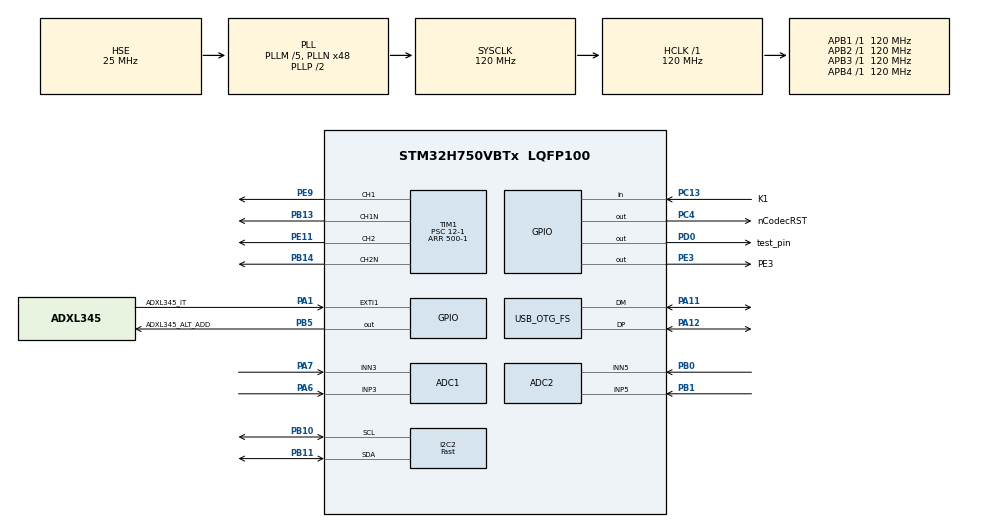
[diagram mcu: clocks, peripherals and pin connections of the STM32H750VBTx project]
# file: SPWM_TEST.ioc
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ADC1.Channel-0\#ChannelRegularConversion=ADC_CHANNEL_3
ADC1.ClockPrescaler=ADC_CLOCK_ASYNC_DIV64
ADC1.ContinuousConvMode=DISABLE
ADC1.ConversionDataManagement=ADC_CONVERSIONDATA_DMA_CIRCULAR
ADC1.ExternalTrigConv=ADC_EXTERNALTRIG_T6_TRGO
ADC1.NbrOfConversion=1
ADC1.NbrOfConversionFlag=1
ADC1.OffsetNumber-0\#ChannelRegularConversion=ADC_OFFSET_NONE
ADC1.OffsetSignedSaturation-0\#ChannelRegularConversion=DISABLE
ADC1.Rank-0\#ChannelRegularConversion=1
ADC1.SamplingTime-0\#ChannelRegularConversion=ADC_SAMPLETIME_32CYCLES_5
ADC1.SingleDiff-0\#ChannelRegularConversion=ADC_DIFFERENTIAL_ENDED
ADC1.master=1
ADC2.Channel-0\#ChannelRegularConversion=ADC_CHANNEL_5
ADC2.ClockPrescaler=ADC_CLOCK_ASYNC_DIV64
ADC2.ContinuousConvMode=DISABLE
ADC2.ExternalTrigConv=ADC_EXTERNALTRIG_T15_TRGO
ADC2.NbrOfConversion=1
ADC2.NbrOfConversionFlag=1
ADC2.OffsetNumber-0\#ChannelRegularConversion=ADC_OFFSET_NONE
ADC2.OffsetSignedSaturation-0\#ChannelRegularConversion=DISABLE
ADC2.Rank-0\#ChannelRegularConversion=1
ADC2.SamplingTime-0\#ChannelRegularConversion=ADC_SAMPLETIME_387CYCLES_5
ADC2.SingleDiff-0\#ChannelRegularConversion=ADC_DIFFERENTIAL_ENDED
CORTEX_M7.AccessPermission-Cortex_Memory_Protection_Unit_Region0_Settings=MPU_REGION_FULL_ACCESS
CORTEX_M7.AccessPermission-Cortex_Memory_Protection_Unit_Region1_Settings=MPU_REGION_FULL_ACCESS
CORTEX_M7.BaseAddress-Cortex_Memory_Protection_Unit_Region0_Settings=0x90000000
CORTEX_M7.BaseAddress-Cortex_Memory_Protection_Unit_Region1_Settings=0x90000000
CORTEX_M7.CPU_DCache=Disabled
CORTEX_M7.CPU_ICache=Disabled
CORTEX_M7.DisableExec-Cortex_Memory_Protection_Unit_Region0_Settings=MPU_INSTRUCTION_ACCESS_DISABLE
CORTEX_M7.Enable-Cortex_Memory_Protection_Unit_Region0_Settings=MPU_REGION_ENABLE
CORTEX_M7.Enable-Cortex_Memory_Protection_Unit_Region1_Settings=MPU_REGION_ENABLE
CORTEX_M7.IsBufferable-Cortex_Memory_Protection_Unit_Region0_Settings=MPU_ACCESS_BUFFERABLE
CORTEX_M7.IsBufferable-Cortex_Memory_Protection_Unit_Region1_Settings=MPU_ACCESS_BUFFERABLE
CORTEX_M7.IsCacheable-Cortex_Memory_Protection_Unit_Region0_Settings=MPU_ACCESS_CACHEABLE
CORTEX_M7.IsCacheable-Cortex_Memory_Protection_Unit_Region1_Settings=MPU_ACCESS_CACHEABLE
CORTEX_M7.MPU_Control=MPU_PRIVILEGED_DEFAULT
CORTEX_M7.Size-Cortex_Memory_Protection_Unit_Region0_Settings=MPU_REGION_SIZE_8MB
CORTEX_M7.Size-Cortex_Memory_Protection_Unit_Region1_Settings=MPU_REGION_SIZE_1MB
Dma.ADC1.2.Direction=DMA_PERIPH_TO_MEMORY
Dma.ADC1.2.EventEnable=DISABLE
Dma.ADC1.2.FIFOMode=DMA_FIFOMODE_DISABLE
Dma.ADC1.2.Instance=DMA2_Stream0
Dma.ADC1.2.MemDataAlignment=DMA_MDATAALIGN_WORD
Dma.ADC1.2.MemInc=DMA_MINC_ENABLE
Dma.ADC1.2.Mode=DMA_CIRCULAR
Dma.ADC1.2.PeriphDataAlignment=DMA_PDATAALIGN_WORD
Dma.ADC1.2.PeriphInc=DMA_PINC_DISABLE
Dma.ADC1.2.Polarity=HAL_DMAMUX_REQ_GEN_RISING
Dma.ADC1.2.Priority=DMA_PRIORITY_LOW
Dma.ADC1.2.RequestNumber=1
Dma.ADC1.2.SignalID=NONE
Dma.ADC1.2.SyncEnable=DISABLE
Dma.ADC1.2.SyncPolarity=HAL_DMAMUX_SYNC_NO_EVENT
Dma.ADC1.2.SyncRequestNumber=1
Dma.ADC1.2.SyncSignalID=NONE
Dma.Request0=TIM1_CH1
Dma.Request1=TIM1_CH2
Dma.Request2=ADC1
Dma.TIM1_CH1.0.Direction=DMA_MEMORY_TO_PERIPH
Dma.TIM1_CH1.0.EventEnable=DISABLE
Dma.TIM1_CH1.0.FIFOMode=DMA_FIFOMODE_DISABLE
Dma.TIM1_CH1.0.Instance=DMA1_Stream1
Dma.TIM1_CH1.0.MemDataAlignment=DMA_MDATAALIGN_HALFWORD
Dma.TIM1_CH1.0.MemInc=DMA_MINC_ENABLE
Dma.TIM1_CH1.0.Mode=DMA_CIRCULAR
Dma.TIM1_CH1.0.PeriphDataAlignment=DMA_PDATAALIGN_HALFWORD
Dma.TIM1_CH1.0.PeriphInc=DMA_PINC_DISABLE
Dma.TIM1_CH1.0.Polarity=HAL_DMAMUX_REQ_GEN_RISING
Dma.TIM1_CH1.0.Priority=DMA_PRIORITY_HIGH
Dma.TIM1_CH1.0.RequestNumber=1
Dma.TIM1_CH1.0.SignalID=NONE
Dma.TIM1_CH1.0.SyncEnable=DISABLE
Dma.TIM1_CH1.0.SyncPolarity=HAL_DMAMUX_SYNC_NO_EVENT
Dma.TIM1_CH1.0.SyncRequestNumber=1
Dma.TIM1_CH1.0.SyncSignalID=NONE
Dma.TIM1_CH2.1.Direction=DMA_MEMORY_TO_PERIPH
Dma.TIM1_CH2.1.EventEnable=DISABLE
Dma.TIM1_CH2.1.FIFOMode=DMA_FIFOMODE_DISABLE
Dma.TIM1_CH2.1.Instance=DMA1_Stream2
Dma.TIM1_CH2.1.MemDataAlignment=DMA_MDATAALIGN_HALFWORD
Dma.TIM1_CH2.1.MemInc=DMA_MINC_ENABLE
Dma.TIM1_CH2.1.Mode=DMA_CIRCULAR
Dma.TIM1_CH2.1.PeriphDataAlignment=DMA_PDATAALIGN_HALFWORD
Dma.TIM1_CH2.1.PeriphInc=DMA_PINC_DISABLE
Dma.TIM1_CH2.1.Polarity=HAL_DMAMUX_REQ_GEN_RISING
Dma.TIM1_CH2.1.Priority=DMA_PRIORITY_HIGH
Dma.TIM1_CH2.1.RequestNumber=1
Dma.TIM1_CH2.1.SignalID=NONE
Dma.TIM1_CH2.1.SyncEnable=DISABLE
Dma.TIM1_CH2.1.SyncPolarity=HAL_DMAMUX_SYNC_NO_EVENT
Dma.TIM1_CH2.1.SyncRequestNumber=1
Dma.TIM1_CH2.1.SyncSignalID=NONE
I2C2.I2C_Speed_Mode=I2C_Fast
I2C2.Timing=0x00B03FDB
Mcu.Family=STM32H7
Mcu.Name=STM32H750VBTx
Mcu.Package=LQFP100
NVIC.ADC_IRQn=true\:1\:0\:true\:false\:true\:true\:true\:true
NVIC.DMA1_Stream1_IRQn=true\:0\:0\:false\:false\:true\:false\:true\:true
NVIC.DMA1_Stream2_IRQn=true\:0\:0\:false\:false\:true\:false\:true\:true
NVIC.DMA2_Stream0_IRQn=true\:0\:0\:false\:false\:true\:false\:true\:true
NVIC.EXTI1_IRQn=true\:0\:0\:false\:false\:true\:true\:true\:true
NVIC.OTG_FS_EP1_IN_IRQn=true\:2\:0\:true\:false\:true\:true\:true\:true
NVIC.OTG_FS_EP1_OUT_IRQn=true\:2\:0\:true\:false\:true\:true\:true\:true
NVIC.OTG_FS_IRQn=true\:0\:0\:true\:false\:true\:false\:true\:true
NVIC.PriorityGroup=NVIC_PRIORITYGROUP_4
NVIC.TIM1_UP_IRQn=true\:0\:0\:false\:false\:true\:true\:true\:true
NVIC.TIM7_IRQn=true\:2\:0\:true\:false\:true\:true\:true\:true
PA1.GPIO_Label=ADXL345_IT
PA1.GPIO_PuPd=GPIO_PULLDOWN
PA1.Signal=GPXTI1
PA11.Mode=Device_Only
PA11.Signal=USB_OTG_FS_DM
PA12.Mode=Device_Only
PA12.Signal=USB_OTG_FS_DP
PA13\ (JTMS/SWDIO).Mode=Serial_Wire
PA13\ (JTMS/SWDIO).Signal=DEBUG_JTMS-SWDIO
PA14\ (JTCK/SWCLK).Mode=Serial_Wire
PA14\ (JTCK/SWCLK).Signal=DEBUG_JTCK-SWCLK
PA6.Signal=ADCx_INP3
PA7.Signal=ADCx_INN3
PB0.Signal=ADCx_INN5
PB1.Signal=ADCx_INP5
PB10.Mode=I2C
PB10.Signal=I2C2_SCL
PB11.Mode=I2C
PB11.Signal=I2C2_SDA
PB13.Mode=PWM Generation1 CH1 CH1N
PB13.Signal=TIM1_CH1N
PB14.Mode=PWM Generation2 CH2 CH2N
PB14.Signal=TIM1_CH2N
PB5.GPIO_Label=ADXL345_ALT_ADD
PB5.Signal=GPIO_Output
PC13.GPIO_Label=K1
PC13.Signal=GPIO_Input
PC14-OSC32_IN\ (OSC32_IN).Mode=LSE-External-Oscillator
PC14-OSC32_IN\ (OSC32_IN).Signal=RCC_OSC32_IN
PC15-OSC32_OUT\ (OSC32_OUT).Mode=LSE-External-Oscillator
PC15-OSC32_OUT\ (OSC32_OUT).Signal=RCC_OSC32_OUT
PC4.GPIO_Label=nCodecRST
PC4.Signal=GPIO_Output
PD0.GPIO_Label=test_pin
PD0.Signal=GPIO_Output
PE11.Signal=S_TIM1_CH2
PE3.GPIO_Label=PE3
PE3.Signal=GPIO_Output
PE9.Signal=S_TIM1_CH1
PH0-OSC_IN\ (PH0).Mode=HSE-External-Oscillator
PH0-OSC_IN\ (PH0).Signal=RCC_OSC_IN
PH1-OSC_OUT\ (PH1).Mode=HSE-External-Oscillator
PH1-OSC_OUT\ (PH1).Signal=RCC_OSC_OUT
ProjectManager.HeapSize=0x200
ProjectManager.StackSize=0x400
ProjectManager.TargetToolchain=STM32CubeIDE
RCC.ADCFreq_Value=100000000
RCC.APB1Freq_Value=120000000
RCC.APB2Freq_Value=120000000
RCC.APB3Freq_Value=120000000
RCC.APB4Freq_Value=120000000
RCC.CortexFreq_Value=120000000
RCC.DIVM1=5
RCC.DIVM2=2
RCC.DIVN1=48
RCC.DIVN2=16
RCC.DIVQ1=5
RCC.DIVR1=4
RCC.HCLKFreq_Value=120000000
RCC.HSE_VALUE=25000000
RCC.PLL2FRACN=0
RCC.PLL2_VCI_Range-AdvancedSettings=RCC_PLL2VCIRANGE_2
RCC.PLL3FRACN=0
RCC.PLL3_VCI_Range-AdvancedSettings=RCC_PLL3VCIRANGE_0
RCC.PLLFRACN=0
RCC.PLLSourceVirtual=RCC_PLLSOURCE_HSE
RCC.PWR_Regulator_Voltage_Scale=PWR_REGULATOR_VOLTAGE_SCALE0
RCC.SAI23CLockSelection=RCC_SAI23CLKSOURCE_PLL2
RCC.SPI123CLockSelection=RCC_SPI123CLKSOURCE_PLL2
RCC.SYSCLKFreq_VALUE=120000000
RCC.SYSCLKSource=RCC_SYSCLKSOURCE_PLLCLK
RCC.SupplySource=PWR_LDO_SUPPLY
RCC.USBFreq_Value=48000000
SH.ADCx_INN3.0=ADC1_INN3,IN3-Differential
SH.ADCx_INN5.0=ADC2_INN5,IN5-Differential
SH.ADCx_INP3.0=ADC1_INP3,IN3-Differential
SH.ADCx_INP5.0=ADC2_INP5,IN5-Differential
SH.S_TIM1_CH1.0=TIM1_CH1,PWM Generation1 CH1 CH1N
SH.S_TIM1_CH2.0=TIM1_CH2,PWM Generation2 CH2 CH2N
TIM1.AutoReloadPreload=TIM_AUTORELOAD_PRELOAD_ENABLE
TIM1.Channel-PWM\ Generation1\ CH1\ CH1N=TIM_CHANNEL_1
TIM1.Channel-PWM\ Generation2\ CH2\ CH2N=TIM_CHANNEL_2
TIM1.CounterMode=TIM_COUNTERMODE_CENTERALIGNED2
TIM1.DeadTime=84
TIM1.OCFastMode_PWM-PWM\ Generation1\ CH1\ CH1N=TIM_OCFAST_ENABLE
TIM1.OCFastMode_PWM-PWM\ Generation2\ CH2\ CH2N=TIM_OCFAST_ENABLE
TIM1.OCMode_PWM-PWM\ Generation1\ CH1\ CH1N=TIM_OCMODE_PWM1
TIM1.OCMode_PWM-PWM\ Generation2\ CH2\ CH2N=TIM_OCMODE_PWM1
TIM1.Period=500-1
TIM1.Prescaler=12-1
TIM1.Pulse-PWM\ Generation1\ CH1\ CH1N=1
TIM1.Pulse-PWM\ Generation2\ CH2\ CH2N=1
TIM1.RepetitionCounter=0
TIM15.AutoReloadPreload=TIM_AUTORELOAD_PRELOAD_ENABLE
TIM15.Period=60000-1
TIM15.Prescaler=40-1
TIM15.TIM_MasterOutputTrigger=TIM_TRGO_UPDATE
TIM6.AutoReloadPreload=TIM_AUTORELOAD_PRELOAD_ENABLE
TIM6.Period=23999
TIM6.TIM_MasterOutputTrigger=TIM_TRGO_UPDATE
TIM7.Period=480-1
TIM7.Prescaler=62500-1
USB_DEVICE.CLASS_NAME_FS=CDC
USB_DEVICE.VirtualMode-CDC_FS=Cdc
USB_DEVICE.VirtualModeFS=Cdc_FS
USB_OTG_FS.VirtualMode=Device_Only
VP_MEMORYMAP_VS_MEMORYMAP.Mode=CurAppReg
VP_TIM15_VS_ClockSourceINT.Mode=Internal
VP_TIM1_VS_ClockSourceINT.Mode=Internal
VP_TIM6_VS_ClockSourceINT.Mode=Enable_Timer
VP_TIM7_VS_ClockSourceINT.Mode=Enable_Timer
VP_USB_DEVICE_VS_USB_DEVICE_CDC_FS.Mode=CDC_FS
board=custom

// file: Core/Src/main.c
/* USER CODE BEGIN Header */
/**
  ******************************************************************************
  * @file           : main.c
  * @brief          : Main program body
  ******************************************************************************
  * @attention
  *
  * Copyright (c) 2024 STMicroelectronics.
  * All rights reserved.
  *
  * This software is licensed under terms that can be found in the LICENSE file
  * in the root directory of this software component.
  * If no LICENSE file comes with this software, it is provided AS-IS.
  *
  ******************************************************************************
  */
/* USER CODE END Header */
#include "main.h"
#include "adc.h"
#include "dma.h"
#include "i2c.h"
#include "tim.h"
#include "usb_device.h"
#include "gpio.h"

/* USER CODE BEGIN Includes */
#define ARM_MATH_CM7
#include "arm_math.h"
#include "usbd_cdc_if.h"
#include "string.h"
#include "fft.h"
#include "ADXL345_I2C.h"
#include "cli.h"
#include "spwm.h"
#include "measurment.h"

/* USER CODE END Includes */

/* USER CODE BEGIN PV */

#define NS 200               // Number of samples in sine LUT (128-point sine wave)
#define F_OUT 50             // Default output sine frequency (50 Hz)
#define LOAD_CURRENT_BUFFER_LENGHT 256

extern TIM_HandleTypeDef htim1;  // TIM1 handle for 20 kHz PWM generation
extern TIM_HandleTypeDef htim3;  // TIM3 handle for triggering DMA LUT updates
extern TIM_HandleTypeDef htim7;  // TIM7 handle for periodic tasks (currently disabled)
extern DMA_HandleTypeDef hdma_tim3_ch1;  // DMA handle for TIM3 CH1 to TIM1->CCR1 transfers

extern volatile uint32_t g_ns_active;
extern volatile uint32_t g_ns_inactive;

extern uint16_t *pspwm_active;
extern uint16_t *pspwm_active_inv;
extern uint16_t *pspwm_inactive;
extern uint16_t *pspwm_inactive_inv;

extern volatile uint8_t spwm_swap_request_f;
extern volatile uint8_t spwm_start_request_f;
volatile uint8_t adc1_sampl_ready_f = 0;
volatile uint8_t adc2_sampl_ready_f = 0;

volatile uint8_t adxl345_data_ready_f = 0;

// USB command buffer for CLI input (e.g., "CHANGE_FREQ 50")
uint8_t cmd_usb_buffer[64];
uint8_t cmd_length;

//uint16_t IFI_sample[FFT_BUFFER_SIZE];
//uint16_t IFQ_sample[FFT_BUFFER_SIZE];
//
//extern float32_t sampled_data[2 * FFT_BUFFER_SIZE];
//// Define two buffers for double buffering
//float32_t buffer1[2 * FFT_BUFFER_SIZE];
//float32_t buffer2[2 * FFT_BUFFER_SIZE];
//
//// Pointers to active (writing) and processing buffers
//float32_t *active_buffer = buffer1;
//float32_t *processing_buffer = buffer2;
//
//uint16_t acquired_sample_count = 0;
//uint16_t fft_buff_count = 0;
//
//// Generate a test sine wave
//float32_t max_value = 0.0f;
//float32_t peak_index = 0.0f;
//float32_t target_velocity = 0.0f;

extern uint32_t load_current_buff[LOAD_CURRENT_BUFFER_LENGHT];
extern float current_rms;

volatile uint8_t usb_print_f = 0;

uint32_t error_cnt = 0;
uint8_t data_ready_f = 0;

uint32_t i_adc_value = 0;
int32_t i_voltage_value = 0;
float load_current_value = 0.0f;

uint32_t v_adc_value = 0;
int32_t v_voltage_value = 0;
float dc_link_voltage_value = 0.0f;

uint8_t devID = 0;

// Buffer to store acceleration data
volatile int16_t accelData[3]; // X, Y, Z axes
volatile float faccelData[3];

/* USER CODE END PV */

void SystemClock_Config(void);
void PeriphCommonClock_Config(void);
static void MPU_Config(void);

int main(void)
{

  /* MPU Configuration--------------------------------------------------------*/
  MPU_Config();

  /* MCU Configuration--------------------------------------------------------*/

  /* Reset of all peripherals, Initializes the Flash interface and the Systick. */
  HAL_Init();

  /* Configure the system clock */
  SystemClock_Config();

  /* Configure the peripherals common clocks */
  PeriphCommonClock_Config();

  /* Initialize all configured peripherals */
  MX_GPIO_Init();
  MX_DMA_Init();
  MX_USB_DEVICE_Init();
  MX_I2C2_Init();
  MX_TIM1_Init();
  MX_ADC1_Init();
  MX_ADC2_Init();
  MX_TIM7_Init();
  MX_TIM6_Init();
  MX_TIM15_Init();
  /* USER CODE BEGIN 2 */
	//  HAL_GPIO_WritePin(SPI2_CS_GPIO_Port, SPI2_CS_Pin, GPIO_PIN_SET);
	//  bgt60ltr11_HW_reset();

	/* ADXL345 Initialization Structure */
	ADXL_InitTypeDef adxlConfig = {
		.SPIMode = SPIMODE_4WIRE,   // Default for I2C compatibility
		.IntMode = INT_ACTIVEHIGH,  // Active high interrupt
		.LPMode = LPMODE_NORMAL,    // Normal power mode
		.Rate = BWRATE_800,         // 800 Hz data rate
		.Range = RANGE_4G,          // ±4g range
		.Resolution = RESOLUTION_10BIT, // 10-bit resolution
		.Justify = JUSTIFY_SIGNED,  // Signed justification
		.AutoSleep = AUTOSLEEPOFF,  // Disable auto-sleep
		.LinkMode = LINKMODEOFF     // Disable link mode
	};

	HAL_ADCEx_Calibration_Start(&hadc1, ADC_CALIB_OFFSET_LINEARITY, ADC_DIFFERENTIAL_ENDED);
	HAL_ADCEx_Calibration_Start(&hadc2, ADC_CALIB_OFFSET_LINEARITY, ADC_DIFFERENTIAL_ENDED);

	HAL_TIM_Base_Start(&htim6);
	if (HAL_ADC_Start_DMA(&hadc1, (uint32_t*)load_current_buff, LOAD_CURRENT_BUFFER_LENGHT) != HAL_OK) {
	  error_cnt++;
	}

	HAL_TIM_Base_Start(&htim15);
	HAL_ADC_Start_IT(&hadc2);

	// Initialize LUT buffers with original sine values
	SPWM_GenerateLUTs(10000.0f, 50.0f, 499, 0.5, &g_ns_active);

	HAL_Delay(500);

	HAL_TIM_Base_Start_IT(&htim7);

	/* Initialize ADXL345 */
	if (ADXL345_I2C_Init(&adxlConfig) != HAL_OK)
	{
	  error_cnt++; // Handle initialization failure
	}
	/* Start measurement mode */
	if (ADXL345_I2C_StartMeasure(ON) != HAL_OK)
	{
		error_cnt++; // Handle measurement start failure
	}

	HAL_Delay(500);

	data_ready_f = 0;

	//HAL_TIM_Base_Start(&htim1);
	//HAL_TIM_PWM_Start(&htim1, TIM_CHANNEL_1);
	//HAL_TIMEx_PWMN_Start(&htim1, TIM_CHANNEL_1);
	//HAL_TIM_PWM_Start(&htim1, TIM_CHANNEL_2);
	//HAL_TIMEx_PWMN_Start(&htim1, TIM_CHANNEL_2);

	/* TODO check out DMA burst mode
	* DMA Burst on Update (hardware “both at once”)

	Enable preload for OC1/OC2.
	Configure TIM1 DCR to burst-write CCR1 then CCR2 on UDE (update DMA request).
	One DMA stream with interleaved buffer: [d1_0, d2_0, d1_1, d2_1, ...].
	Update event latches both simultaneously.
	*
	* */
	char response[100];

	HAL_TIM_PWM_Start_DMA(&htim1, TIM_CHANNEL_1, (uint32_t*)pspwm_active, (uint16_t)g_ns_active);
	HAL_TIMEx_PWMN_Start(&htim1, TIM_CHANNEL_1);

	HAL_TIM_PWM_Start_DMA(&htim1, TIM_CHANNEL_2, (uint32_t*)pspwm_active_inv, (uint16_t)g_ns_active);
	HAL_TIMEx_PWMN_Start(&htim1, TIM_CHANNEL_2);
	HAL_Delay(100);

	HAL_GPIO_WritePin(PE3_GPIO_Port, PE3_Pin, GPIO_PIN_SET);

  /* USER CODE END 2 */

  /* Infinite loop */
	while (1)
	{

    /* USER CODE BEGIN 3 */

		if (spwm_start_request_f)
		{

			/* Swap active / inactive pointers */
			uint16_t *t;
			t = pspwm_active;         pspwm_active        = pspwm_inactive;        pspwm_inactive        = t;
			t = pspwm_active_inv;     pspwm_active_inv    = pspwm_inactive_inv;    pspwm_inactive_inv    = t;

			uint32_t t_ns;
			t_ns = g_ns_active; g_ns_active = g_ns_inactive; g_ns_inactive = t_ns;

			SCB_CleanDCache_by_Addr((uint32_t*)pspwm_active,     ((g_ns_active*sizeof(uint16_t)+31U)&~31U));
			SCB_CleanDCache_by_Addr((uint32_t*)pspwm_active_inv, ((g_ns_active*sizeof(uint16_t)+31U)&~31U));

			/* Restart DMA on both channels with new buffers */
			HAL_TIM_PWM_Start_DMA(&htim1, TIM_CHANNEL_1, (uint32_t*)pspwm_active,     (uint16_t)g_ns_active);
			HAL_TIMEx_PWMN_Start(&htim1, TIM_CHANNEL_1);
			HAL_TIM_PWM_Start_DMA(&htim1, TIM_CHANNEL_2, (uint32_t*)pspwm_active_inv, (uint16_t)g_ns_active);
			HAL_TIMEx_PWMN_Start(&htim1, TIM_CHANNEL_2);

			spwm_start_request_f = 0;
		}
		else if (adc1_sampl_ready_f)
		{
			//i_adc_value = HAL_ADC_GetValue(&hadc1);

			// Conv value = (2^16-1 / 2) * (1 + ((Vinp - Vinn) / Vref))
			// Here we get the voltage value in mV
			//i_voltage_value = (3300*2*i_adc_value/65535) - 3300;
			// Map voltage to current (A), ±2.05 V = ±4 A
			//load_current_value = (i_voltage_value / (1000 * 2.05f)) * 4000.0f;

			adc1_sampl_ready_f = 0;
		}
		else if (adc2_sampl_ready_f)
		{
			v_adc_value = HAL_ADC_GetValue(&hadc2);

			// Conv value = (2^16-1 / 2) * (1 + ((Vinp - Vinn) / Vref))
			// Here we get the voltage value in mV
			v_voltage_value = (3300*2*v_adc_value/65535) - 3300;
			// Map voltage to current (A), ±2.05 V = ±4 A
			// I got 19000 for 19V do i need to devide the value by 1000????

			// DC LINK voltage in V
			dc_link_voltage_value = (v_voltage_value / (1000 * 2.0f)) * 400.0f;

			adc2_sampl_ready_f = 0;
		}
		else if (usb_print_f)
		{

			int32_t amps    = (int32_t)current_rms;                        // integer part
			int32_t deci_a   = (int32_t)(abs((current_rms - amps) * 10));       // first decimal digit

			int32_t volts    = (int32_t)dc_link_voltage_value;                        // integer part
			int32_t deci_v   = (int32_t)(abs((dc_link_voltage_value - volts) * 10));       // first decimal digit

			sprintf(response, "LC_RMS = %ld.%01ld mA, DCLINK = %ld.%01ld V \r\n", (long)amps, (long)deci_a, (long)volts, (long)deci_v);
			CDC_Transmit_FS((uint8_t*)response, strlen(response));

			SCB_InvalidateDCache_by_Addr((uint32_t*)load_current_buff, (LOAD_CURRENT_BUFFER_LENGHT * sizeof(uint32_t)+31U)&~31U);
			float peak_curr = find_peak_current((uint32_t*)load_current_buff, LOAD_CURRENT_BUFFER_LENGHT);
			int32_t peak_amp = (int32_t)peak_curr;
			int32_t deci_peak_amp = (int32_t)(abs((peak_curr - peak_amp) * 10));
			sprintf(response, "LC_PEAK = %ld.%01ld mA\r\n", (long)peak_amp, (long)deci_peak_amp);
			CDC_Transmit_FS((uint8_t*)response, strlen(response));

			usb_print_f = 0;
		}
		// Check if data has been received over USB VCP
		else if (cmd_length > 0)
		{
			cli_processCommand(cmd_usb_buffer);  // Process the command
			cmd_length = 0;  // Reset the buffer after processing
		}

		else if (adxl345_data_ready_f)
		{

			ADXL345_I2C_ReadAccXYZ(faccelData, OUTPUT_FLOAT);
			adxl345_data_ready_f = 0;

		}

	}
  /* USER CODE END 3 */
}

void SystemClock_Config(void)
{
  RCC_OscInitTypeDef RCC_OscInitStruct = {0};
  RCC_ClkInitTypeDef RCC_ClkInitStruct = {0};

  /** Supply configuration update enable
  */
  HAL_PWREx_ConfigSupply(PWR_LDO_SUPPLY);

  /** Configure the main internal regulator output voltage
  */
  __HAL_PWR_VOLTAGESCALING_CONFIG(PWR_REGULATOR_VOLTAGE_SCALE0);

  while(!__HAL_PWR_GET_FLAG(PWR_FLAG_VOSRDY)) {}

  /** Initializes the RCC Oscillators according to the specified parameters
  * in the RCC_OscInitTypeDef structure.
  */
  RCC_OscInitStruct.OscillatorType = RCC_OSCILLATORTYPE_HSE;
  RCC_OscInitStruct.HSEState = RCC_HSE_ON;
  RCC_OscInitStruct.PLL.PLLState = RCC_PLL_ON;
  RCC_OscInitStruct.PLL.PLLSource = RCC_PLLSOURCE_HSE;
  RCC_OscInitStruct.PLL.PLLM = 5;
  RCC_OscInitStruct.PLL.PLLN = 48;
  RCC_OscInitStruct.PLL.PLLP = 2;
  RCC_OscInitStruct.PLL.PLLQ = 5;
  RCC_OscInitStruct.PLL.PLLR = 4;
  RCC_OscInitStruct.PLL.PLLRGE = RCC_PLL1VCIRANGE_2;
  RCC_OscInitStruct.PLL.PLLVCOSEL = RCC_PLL1VCOWIDE;
  RCC_OscInitStruct.PLL.PLLFRACN = 0;
  if (HAL_RCC_OscConfig(&RCC_OscInitStruct) != HAL_OK)
  {
    Error_Handler();
  }

  /** Initializes the CPU, AHB and APB buses clocks
  */
  RCC_ClkInitStruct.ClockType = RCC_CLOCKTYPE_HCLK|RCC_CLOCKTYPE_SYSCLK
                              |RCC_CLOCKTYPE_PCLK1|RCC_CLOCKTYPE_PCLK2
                              |RCC_CLOCKTYPE_D3PCLK1|RCC_CLOCKTYPE_D1PCLK1;
  RCC_ClkInitStruct.SYSCLKSource = RCC_SYSCLKSOURCE_PLLCLK;
  RCC_ClkInitStruct.SYSCLKDivider = RCC_SYSCLK_DIV1;
  RCC_ClkInitStruct.AHBCLKDivider = RCC_HCLK_DIV1;
  RCC_ClkInitStruct.APB3CLKDivider = RCC_APB3_DIV1;
  RCC_ClkInitStruct.APB1CLKDivider = RCC_APB1_DIV1;
  RCC_ClkInitStruct.APB2CLKDivider = RCC_APB2_DIV1;
  RCC_ClkInitStruct.APB4CLKDivider = RCC_APB4_DIV1;

  if (HAL_RCC_ClockConfig(&RCC_ClkInitStruct, FLASH_LATENCY_1) != HAL_OK)
  {
    Error_Handler();
  }
}

void PeriphCommonClock_Config(void)
{
  RCC_PeriphCLKInitTypeDef PeriphClkInitStruct = {0};

  /** Initializes the peripherals clock
  */
  PeriphClkInitStruct.PeriphClockSelection = RCC_PERIPHCLK_ADC;
  PeriphClkInitStruct.PLL2.PLL2M = 2;
  PeriphClkInitStruct.PLL2.PLL2N = 16;
  PeriphClkInitStruct.PLL2.PLL2P = 2;
  PeriphClkInitStruct.PLL2.PLL2Q = 2;
  PeriphClkInitStruct.PLL2.PLL2R = 2;
  PeriphClkInitStruct.PLL2.PLL2RGE = RCC_PLL2VCIRANGE_3;
  PeriphClkInitStruct.PLL2.PLL2VCOSEL = RCC_PLL2VCOWIDE;
  PeriphClkInitStruct.PLL2.PLL2FRACN = 0;
  PeriphClkInitStruct.AdcClockSelection = RCC_ADCCLKSOURCE_PLL2;
  if (HAL_RCCEx_PeriphCLKConfig(&PeriphClkInitStruct) != HAL_OK)
  {
    Error_Handler();
  }
}

/* USER CODE BEGIN 4 */

/**
  * @brief  EXTI Line Detection Callback
  * @param  GPIO_Pin Specifies the port pin connected to the EXTI line
  * @retval None
  */
void HAL_GPIO_EXTI_Callback(uint16_t GPIO_Pin)
{
  if (GPIO_Pin == ADXL345_IT_Pin) {
      /* Read acceleration data when interrupt occurs */

	  adxl345_data_ready_f = 1;

  }
}

void HAL_TIM_PeriodElapsedCallback(TIM_HandleTypeDef *htim)
{
	if (htim == &htim7)
	{

	usb_print_f = 1;

	 //HAL_GPIO_TogglePin(PE3_GPIO_Port, PE3_Pin);
//		 ADXL345_I2C_ReadAccXYZ(&recivedData);
//		 x = (recivedData[1]<<8) | recivedData[0];
//		 y = (recivedData[3]<<8) | recivedData[2];
//		 z = (recivedData[5]<<8) | recivedData[4];
//

		 // SEnsitivity or scale factor at 10bit mode with +-4g -> 7.8mg/LSB
//		 gx = x * 0.0078;
//		 gy = y * 0.0078;
//		 gz = z * 0.0078;

	}

	if (htim == &htim6)
	{
		error_cnt++;
	}
}

void HAL_ADC_ConvCpltCallback(ADC_HandleTypeDef* hadc)
{
	// Second half od the buffer is ready to process (buf[128-255])
	if (hadc == &hadc1)
	{
		SCB_InvalidateDCache_by_Addr((uint32_t*)&load_current_buff[LOAD_CURRENT_BUFFER_LENGHT/2], ((LOAD_CURRENT_BUFFER_LENGHT/2) * sizeof(uint32_t)+31U)&~31U);
		process_rms(&load_current_buff[LOAD_CURRENT_BUFFER_LENGHT/2], LOAD_CURRENT_BUFFER_LENGHT/2);
	}

	if (hadc == &hadc2)
	{
		adc2_sampl_ready_f = 1;
	}
}

void HAL_ADC_ConvHalfCpltCallback(ADC_HandleTypeDef* hadc)
{
    if (hadc == &hadc1)
    {
        // First half of buffer ready (adc1_buf[0..127])
		SCB_InvalidateDCache_by_Addr((uint32_t*)&load_current_buff[0], ((LOAD_CURRENT_BUFFER_LENGHT/2) * sizeof(uint32_t)+31U)&~31U);
		process_rms(&load_current_buff[0], LOAD_CURRENT_BUFFER_LENGHT/2);

    }
}

/* USER CODE END 4 */

 /* MPU Configuration */

void MPU_Config(void)
{
  MPU_Region_InitTypeDef MPU_InitStruct = {0};

  /* Disables the MPU */
  HAL_MPU_Disable();

  /** Initializes and configures the Region and the memory to be protected
  */
  MPU_InitStruct.Enable = MPU_REGION_ENABLE;
  MPU_InitStruct.Number = MPU_REGION_NUMBER0;
  MPU_InitStruct.BaseAddress = 0x90000000;
  MPU_InitStruct.Size = MPU_REGION_SIZE_8MB;
  MPU_InitStruct.SubRegionDisable = 0x0;
  MPU_InitStruct.TypeExtField = MPU_TEX_LEVEL0;
  MPU_InitStruct.AccessPermission = MPU_REGION_FULL_ACCESS;
  MPU_InitStruct.DisableExec = MPU_INSTRUCTION_ACCESS_DISABLE;
  MPU_InitStruct.IsShareable = MPU_ACCESS_NOT_SHAREABLE;
  MPU_InitStruct.IsCacheable = MPU_ACCESS_CACHEABLE;
  MPU_InitStruct.IsBufferable = MPU_ACCESS_BUFFERABLE;

  HAL_MPU_ConfigRegion(&MPU_InitStruct);

  /** Initializes and configures the Region and the memory to be protected
  */
  MPU_InitStruct.Number = MPU_REGION_NUMBER1;
  MPU_InitStruct.Size = MPU_REGION_SIZE_1MB;
  MPU_InitStruct.DisableExec = MPU_INSTRUCTION_ACCESS_ENABLE;

  HAL_MPU_ConfigRegion(&MPU_InitStruct);
  /* Enables the MPU */
  HAL_MPU_Enable(MPU_PRIVILEGED_DEFAULT);

}

void Error_Handler(void)
{
  /* USER CODE BEGIN Error_Handler_Debug */
  /* User can add his own implementation to report the HAL error return state */
  __disable_irq();
  while (1)
  {
	  HAL_Delay(500);
	  HAL_GPIO_TogglePin(PE3_GPIO_Port, PE3_Pin);

  }
  /* USER CODE END Error_Handler_Debug */
}
